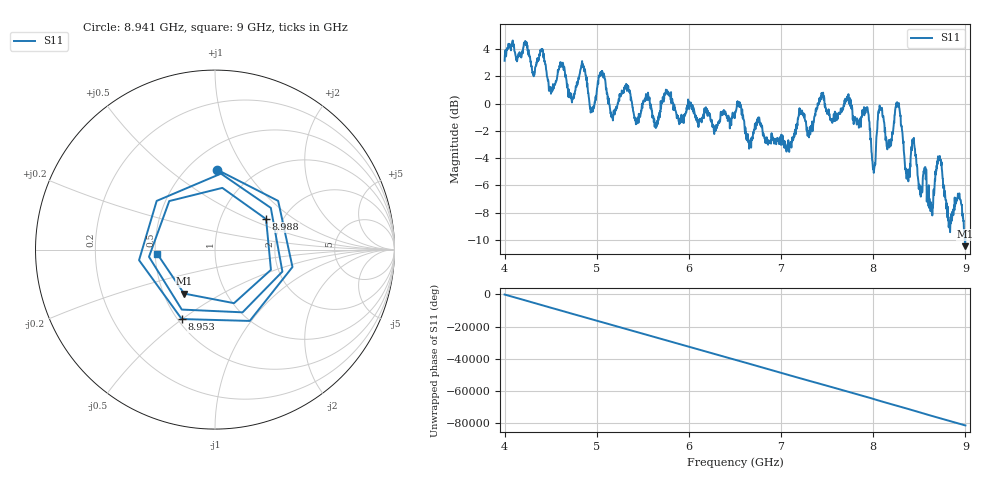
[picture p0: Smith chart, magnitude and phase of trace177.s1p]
! Created with skrf 1.8.0 (http://scikit-rf.org).
# Hz S RI R 50.0
!freq ReS11 ImS11
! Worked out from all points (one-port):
!   1601 points, 4 GHz to 9 GHz, reference 50 ohm
!   lowest |S11| = -10.5 dB at 8.997 GHz (marker M1), VSWR 1.86, Z = 31.7 - j17.1 ohm
!   |S11| at or under -10 dB: 8.994097 GHz to 8.999285 GHz (5.188 MHz wide, 0.0577 % of centre)
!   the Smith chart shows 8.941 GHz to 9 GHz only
!   S11 on the Smith chart (normalised r, x): 8.941 GHz: 0.68, +0.76; 8.953 GHz: 0.52, -0.50; 8.988 GHz: 1.65, +0.63; 9 GHz: 0.51, -0.03
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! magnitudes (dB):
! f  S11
! 4 GHz  3.1
! 4.506 GHz  1.0
! 4.625 GHz  2.7
! 4.728 GHz  0.2
! 4.856 GHz  2.8
! 4.947 GHz  -0.4
! 5.044 GHz  2.1
! 5.169 GHz  -1.0
! 5.25 GHz  0.5
! 5.875 GHz  -1.0
! 6.5 GHz  -0.6
! 7.125 GHz  -2.7
! 7.75 GHz  -0.2
! 7.931 GHz  -0.3
! 8.003 GHz  -4.7
! 8.072 GHz  -0.2
! 8.169 GHz  -2.7
! 8.266 GHz  -0.1
! 8.375 GHz  -5.1
! 8.438 GHz  -2.9
! 8.625 GHz  -7.2
! 8.716 GHz  -3.9
! 8.828 GHz  -9.1
! 8.941 GHz  -7.0
! 8.953 GHz  -7.3
! 8.988 GHz  -9.6
! 8.997 GHz  -10.5
! 9 GHz  -9.9
